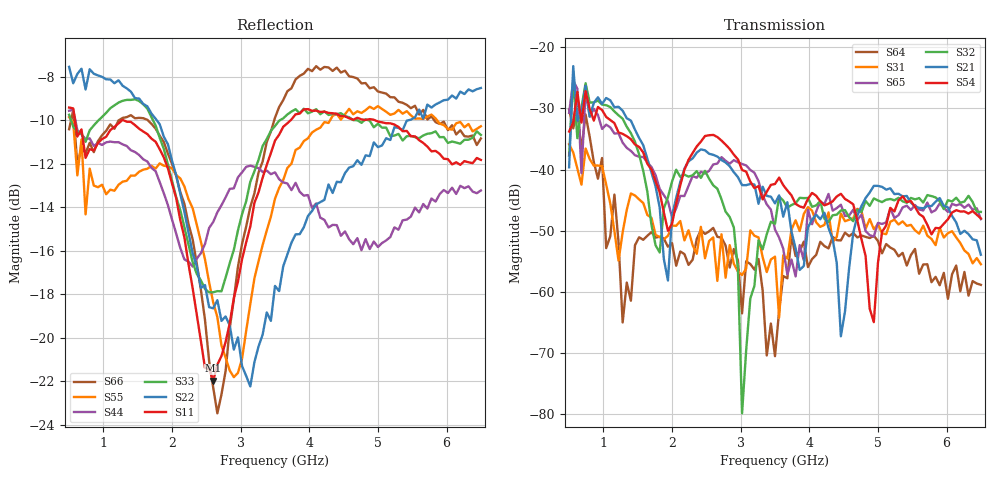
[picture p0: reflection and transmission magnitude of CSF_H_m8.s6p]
!Keysight Technologies,M9804A,MY58100912,A.14.10.03
!Date: Thursday, April 27, 2023 10:28:33
!Correction: S11(C  6-Port  )
!S12(C  6-Port  )
!S13(C  6-Port  )
!S14(C  6-Port  )
!S15(C  6-Port  )
!S16(C  6-Port  )
!S21(C  6-Port  )
!S22(C  6-Port  )
!S23(C  6-Port  )
!S24(C  6-Port  )
!S25(C  6-Port  )
!S26(C  6-Port  )
!S31(C  6-Port  )
!S32(C  6-Port  )
!S33(C  6-Port  )
!S34(C  6-Port  )
!S35(C  6-Port  )
!S36(C  6-Port  )
!S41(C  6-Port  )
!S42(C  6-Port  )
!S43(C  6-Port  )
!S44(C  6-Port  )
!S45(C  6-Port  )
!S46(C  6-Port  )
!S51(C  6-Port  )
!S52(C  6-Port  )
!S53(C  6-Port  )
!S54(C  6-Port  )
!S55(C  6-Port  )
!S56(C  6-Port  )
!S61(C  6-Port  )
!S62(C  6-Port  )
!S63(C  6-Port  )
!S64(C  6-Port  )
!S65(C  6-Port  )
!S66(C  6-Port  )
!S6P File: Measurement: :
# Hz S  RI  R 50
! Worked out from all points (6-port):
!   101 points, 500 MHz to 6.5 GHz, reference 50 ohm
!   strongest paths, dB at 500 MHz, 2 GHz, 3.5 GHz, 5 GHz, 6.5 GHz:
!     S54: -33.8, -48.8, -42.4, -55.3, -48.0
!     S21: -39.6, -47.5, -45.5, -42.7, -53.9
!     S32: -37.7, -41.9, -48.9, -45.0, -46.9
!     S65: -30.7, -47.8, -49.8, -48.7, -48.1
!     S31: -35.9, -49.2, -54.2, -48.9, -55.5
!     S64: -30.2, -52.0, -70.5, -51.7, -58.8
!   lowest |S11| = -22.0 dB at 2.6 GHz (marker M1), VSWR 1.17, Z = 42.9 + j1.92 ohm
!   |S11| at or under -10 dB: 585.3 MHz to 1.274 GHz (688.2 MHz wide, 74.1 % of centre); 1.293 GHz to 3.727 GHz (2.435 GHz wide, 97 % of centre); 4.958 GHz to end of sweep
